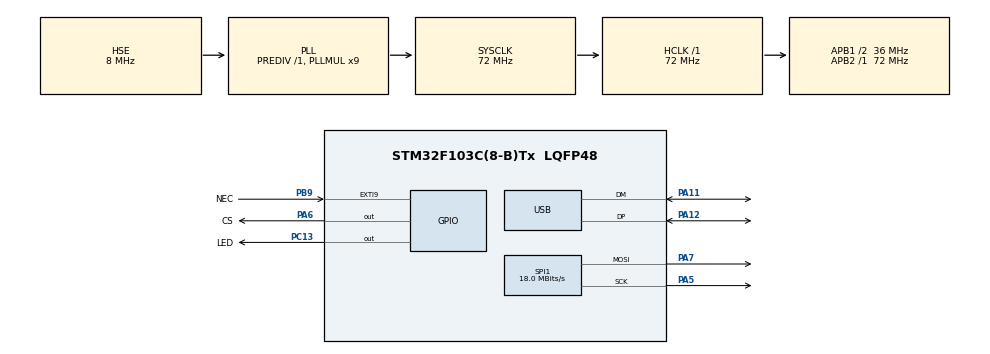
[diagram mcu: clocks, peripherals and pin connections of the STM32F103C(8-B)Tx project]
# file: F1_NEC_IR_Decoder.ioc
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Mcu.Family=STM32F1
Mcu.Name=STM32F103C(8-B)Tx
Mcu.Package=LQFP48
NVIC.EXTI9_5_IRQn=true\:0\:0\:false\:false\:true\:true\:true
NVIC.PriorityGroup=NVIC_PRIORITYGROUP_4
NVIC.TIM1_BRK_IRQn=true\:0\:0\:false\:false\:true\:true\:true
NVIC.TIM1_CC_IRQn=true\:0\:0\:false\:false\:true\:true\:true
NVIC.TIM1_TRG_COM_IRQn=true\:0\:0\:false\:false\:true\:true\:true
NVIC.TIM1_UP_IRQn=true\:0\:0\:false\:false\:true\:true\:true
NVIC.USB_LP_CAN1_RX0_IRQn=true\:0\:0\:false\:false\:true\:false\:true
PA11.Mode=Device
PA11.Signal=USB_DM
PA12.Mode=Device
PA12.Signal=USB_DP
PA13.Mode=Serial_Wire
PA13.Signal=SYS_JTMS-SWDIO
PA14.Mode=Serial_Wire
PA14.Signal=SYS_JTCK-SWCLK
PA5.Mode=TX_Only_Simplex_Unidirect_Master
PA5.Signal=SPI1_SCK
PA6.GPIO_Label=CS
PA6.GPIO_Speed=GPIO_SPEED_FREQ_HIGH
PA6.Signal=GPIO_Output
PA7.Mode=TX_Only_Simplex_Unidirect_Master
PA7.Signal=SPI1_MOSI
PB9.GPIO_Label=NEC
PB9.GPIO_ModeDefaultEXTI=GPIO_MODE_IT_RISING_FALLING
PB9.GPIO_PuPd=GPIO_NOPULL
PB9.Signal=GPXTI9
PC13-TAMPER-RTC.GPIO_Label=LED
PC13-TAMPER-RTC.GPIO_Speed=GPIO_SPEED_FREQ_HIGH
PC13-TAMPER-RTC.Signal=GPIO_Output
PC14-OSC32_IN.Mode=LSE-External-Oscillator
PC14-OSC32_IN.Signal=RCC_OSC32_IN
PC15-OSC32_OUT.Mode=LSE-External-Oscillator
PC15-OSC32_OUT.Signal=RCC_OSC32_OUT
PD0-OSC_IN.Mode=HSE-External-Oscillator
PD0-OSC_IN.Signal=RCC_OSC_IN
PD1-OSC_OUT.Mode=HSE-External-Oscillator
PD1-OSC_OUT.Signal=RCC_OSC_OUT
ProjectManager.HeapSize=0x200
ProjectManager.StackSize=0x400
ProjectManager.TargetToolchain=SW4STM32
RCC.AHBFreq_Value=72000000
RCC.APB1CLKDivider=RCC_HCLK_DIV2
RCC.APB1Freq_Value=36000000
RCC.APB1TimFreq_Value=72000000
RCC.APB2Freq_Value=72000000
RCC.APB2TimFreq_Value=72000000
RCC.HCLKFreq_Value=72000000
RCC.PLLMUL=RCC_PLL_MUL9
RCC.SYSCLKFreq_VALUE=72000000
RCC.SYSCLKSource=RCC_SYSCLKSOURCE_PLLCLK
RCC.USBFreq_Value=48000000
RCC.USBPrescaler=RCC_USBCLKSOURCE_PLL_DIV1_5
SPI1.BaudRatePrescaler=SPI_BAUDRATEPRESCALER_4
SPI1.CalculateBaudRate=18.0 MBits/s
SPI1.Direction=SPI_DIRECTION_2LINES
SPI1.Mode=SPI_MODE_MASTER
SPI1.VirtualType=VM_MASTER
TIM1.AutoReloadPreload=TIM_AUTORELOAD_PRELOAD_ENABLE
TIM1.Period=65535
TIM1.Prescaler=719
TIM1.TIM_MasterOutputTrigger=TIM_TRGO_RESET
TIM1.TIM_MasterSlaveMode=TIM_MASTERSLAVEMODE_DISABLE
USB_DEVICE.CLASS_NAME_FS=CDC
USB_DEVICE.LANGID_STRING=1036
USB_DEVICE.VirtualMode=Cdc
USB_DEVICE.VirtualModeFS=Cdc_FS
VP_TIM1_VS_ClockSourceINT.Mode=Internal
VP_USB_DEVICE_VS_USB_DEVICE_CDC_FS.Mode=CDC_FS
board=custom

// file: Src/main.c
/* USER CODE BEGIN Header */
/**
 ******************************************************************************
 * @file           : main.c
 * @brief          : Main program body
 ******************************************************************************
 * @attention
 *
 * <h2><center>&copy; Copyright (c) 2019 STMicroelectronics.
 * All rights reserved.</center></h2>
 *
 * This software component is licensed by ST under Ultimate Liberty license
 * SLA0044, the "License"; You may not use this file except in compliance with
 * the License. You may obtain a copy of the License at:
 *                             www.st.com/SLA0044
 *
 ******************************************************************************
 */
/* USER CODE END Header */

#include "main.h"
#include "usb_device.h"

/* USER CODE BEGIN Includes */
#include <stdio.h>
/* USER CODE END Includes */

/* USER CODE BEGIN PD */

#define MAXIMDISP
#define VPCOM
//#define DEBUG

uint8_t len = 0;
uint8_t BUFF[80];

struct NEC NEC1;

/* USER CODE END PD */

/* USER CODE BEGIN PM */

#ifdef MAXIMDISP

void MAXIM(SPI_HandleTypeDef *hspi, uint8_t addr, uint8_t comm) {
	static uint8_t data[2];
	data[0] = addr;
	data[1] = comm;
	HAL_GPIO_WritePin(CS_GPIO_Port, CS_Pin, 0);
	HAL_SPI_Transmit(hspi, &data[0], 2, HAL_MAX_DELAY);
	HAL_GPIO_WritePin(CS_GPIO_Port, CS_Pin, 1);
}

void MAXIM_Init(SPI_HandleTypeDef *hspi) {
	uint8_t i;
	i = 0;
	MAXIM(hspi, 0xA, 0x0); // LED INTENSITY
	while (i < 8) {
		MAXIM(hspi, 0xA, 0x0);
		MAXIM(hspi, i + 1, 0x0);
		i++;
	}
	MAXIM(hspi, 0xC, 0x1);
	MAXIM(hspi, 0xB, 0x7);
	MAXIM(hspi, 0xA, 0x0); // LED INTENSITY
	MAXIM(hspi, 0xF, 0x1);
	MAXIM(hspi, 0xF, 0x0);
	MAXIM(hspi, 0x9, 0x0);
	i = 0;
}

void Maxim_Map(SPI_HandleTypeDef *hspi, uint8_t *map) {
	static uint8_t i;
	i = 0;
	while (i < 8) {
		MAXIM(hspi, i + 1, map[i]);
		i++;
	}
}

#endif

/* USER CODE END PM */

SPI_HandleTypeDef hspi1;

TIM_HandleTypeDef htim1;

void SystemClock_Config(void);
static void MX_GPIO_Init(void);
static void MX_TIM1_Init(void);
static void MX_SPI1_Init(void);

/* USER CODE BEGIN 0 */

void HAL_TIM_PeriodElapsedCallback(TIM_HandleTypeDef *htim) {
	if (htim->Instance == TIM1) {
		HAL_GPIO_WritePin(LED_GPIO_Port, LED_Pin, GPIO_PIN_SET);
		NEC1.addr = 0;
		NEC1.addr_inv = 0;
		NEC1.cmd = 0;
		NEC1.cmd_inv = 0;
		NEC1.complet = 0;
		NEC1.gpio = 0;
		NEC1.i = 0;
		NEC1.init_seq = 0;
		NEC1.repeat = 0;
		NEC1.complet = 0;
		MAXIM(&hspi1, 1, NEC1.addr);
		MAXIM(&hspi1, 2, NEC1.addr_inv);
		MAXIM(&hspi1, 3, NEC1.cmd);
		MAXIM(&hspi1, 4, NEC1.cmd_inv);
		MAXIM(&hspi1, 5, NEC1.repeat);
	}
}

void HAL_GPIO_EXTI_Callback(uint16_t GPIO_Pin) {
	if (GPIO_Pin == NEC_Pin) {
		NEC1.count = __HAL_TIM_GET_COUNTER(&htim1);
		__HAL_TIM_SET_COUNTER(&htim1, 0);
		NEC1.gpio = HAL_GPIO_ReadPin(NEC_GPIO_Port, NEC_Pin);
		HAL_GPIO_TogglePin(LED_GPIO_Port, LED_Pin);
#ifdef DEBUG
		len = sprintf(BUFF, "DEBUG :\t%u\t%u\t%u\n\0", NEC1.i, NEC1.gpio, NEC1.count);
		CDC_Transmit_FS(BUFF, len);
#endif

		if (NEC1.gpio && NEC1.count > 850 && NEC1.count < 1000) {
			NEC1.init_seq = 1;
			NEC1.complet = 0;
		}

		if (!NEC1.gpio && NEC1.count > 420 && NEC1.count < 480
				&& NEC1.init_seq) {
			NEC1.i = -1;
			NEC1.repeat = 0;
			NEC1.init_seq = 0;
		}

		if (!NEC1.gpio && NEC1.count > 200 && NEC1.count < 260
				&& NEC1.init_seq) {
			NEC1.i = -1;
			NEC1.init_seq = 0;
			NEC1.repeat++;
			NEC1.complet = 1;
		}

		if (NEC1.gpio && NEC1.count > 40 && NEC1.count < 70) {
			NEC1.i++;
		}

		if (!NEC1.gpio && NEC1.count > 40 && NEC1.count < 180) {
			switch (NEC1.i / 8) {
			case 0:
				if (NEC1.count > 100) {
					NEC1.addr |= (1 << (NEC1.i % 8));
				} else {
					NEC1.addr &= ~(1 << (NEC1.i % 8));
				}
				break;
			case 1:
				if (NEC1.count > 100) {
					NEC1.addr_inv |= (1 << (NEC1.i % 8));
				} else {
					NEC1.addr_inv &= ~(1 << (NEC1.i % 8));
				}
				break;
			case 2:
				if (NEC1.count > 100) {
					NEC1.cmd |= (1 << (NEC1.i % 8));
				} else {
					NEC1.cmd &= ~(1 << (NEC1.i % 8));
				}
				break;
			case 3:
				if (NEC1.count > 100) {
					NEC1.cmd_inv |= (1 << (NEC1.i % 8));
				} else {
					NEC1.cmd_inv &= ~(1 << (NEC1.i % 8));
				}
				break;
			default:
				break;
			}
		}

		if (NEC1.i == 32) {
			NEC1.complet = 1;
		}
	}
}

/* USER CODE END 0 */

int main(void)
{

  /* MCU Configuration--------------------------------------------------------*/

  /* Reset of all peripherals, Initializes the Flash interface and the Systick. */
  HAL_Init();

  /* Configure the system clock */
  SystemClock_Config();

  /* Initialize all configured peripherals */
  MX_GPIO_Init();
  MX_USB_DEVICE_Init();
  MX_TIM1_Init();
  MX_SPI1_Init();
  /* USER CODE BEGIN 2 */
	MAXIM_Init(&hspi1);
	HAL_GPIO_TogglePin(LED_GPIO_Port, LED_Pin);
	HAL_TIM_Base_Start_IT(&htim1);

  /* USER CODE END 2 */

  /* Infinite loop */
  /* USER CODE BEGIN WHILE */

	while (1) {

		if (NEC1.complet) {
#ifdef MAXIMDISP
			NEC1.complet = 0;
			MAXIM(&hspi1, 1, NEC1.addr);
			MAXIM(&hspi1, 2, NEC1.addr_inv);
			MAXIM(&hspi1, 3, NEC1.cmd);
			MAXIM(&hspi1, 4, NEC1.cmd_inv);
			MAXIM(&hspi1, 5, NEC1.repeat);
#endif

#ifdef VPCOM
			if (!NEC1.repeat) {
				len =
						sprintf(BUFF,
								"Received :\n\
ADDR:\t%x\n\
!ADDR:\t%x\n\
CMD:\t%x\n\
!CMD:\t%x\n",
								NEC1.addr, NEC1.addr_inv, NEC1.cmd,
								NEC1.cmd_inv);
			} else {
				len = sprintf(BUFF, "Repeat : %d\n", NEC1.repeat);
			}
			CDC_Transmit_FS(BUFF, len);
#endif
		}

    /* USER CODE END WHILE */

	}
}

void SystemClock_Config(void)
{
  RCC_OscInitTypeDef RCC_OscInitStruct = {0};
  RCC_ClkInitTypeDef RCC_ClkInitStruct = {0};
  RCC_PeriphCLKInitTypeDef PeriphClkInit = {0};

  /** Initializes the CPU, AHB and APB busses clocks
  */
  RCC_OscInitStruct.OscillatorType = RCC_OSCILLATORTYPE_HSE;
  RCC_OscInitStruct.HSEState = RCC_HSE_ON;
  RCC_OscInitStruct.HSEPredivValue = RCC_HSE_PREDIV_DIV1;
  RCC_OscInitStruct.HSIState = RCC_HSI_ON;
  RCC_OscInitStruct.PLL.PLLState = RCC_PLL_ON;
  RCC_OscInitStruct.PLL.PLLSource = RCC_PLLSOURCE_HSE;
  RCC_OscInitStruct.PLL.PLLMUL = RCC_PLL_MUL9;
  if (HAL_RCC_OscConfig(&RCC_OscInitStruct) != HAL_OK)
  {
    Error_Handler();
  }
  /** Initializes the CPU, AHB and APB busses clocks
  */
  RCC_ClkInitStruct.ClockType = RCC_CLOCKTYPE_HCLK|RCC_CLOCKTYPE_SYSCLK
                              |RCC_CLOCKTYPE_PCLK1|RCC_CLOCKTYPE_PCLK2;
  RCC_ClkInitStruct.SYSCLKSource = RCC_SYSCLKSOURCE_PLLCLK;
  RCC_ClkInitStruct.AHBCLKDivider = RCC_SYSCLK_DIV1;
  RCC_ClkInitStruct.APB1CLKDivider = RCC_HCLK_DIV2;
  RCC_ClkInitStruct.APB2CLKDivider = RCC_HCLK_DIV1;

  if (HAL_RCC_ClockConfig(&RCC_ClkInitStruct, FLASH_LATENCY_2) != HAL_OK)
  {
    Error_Handler();
  }
  PeriphClkInit.PeriphClockSelection = RCC_PERIPHCLK_USB;
  PeriphClkInit.UsbClockSelection = RCC_USBCLKSOURCE_PLL_DIV1_5;
  if (HAL_RCCEx_PeriphCLKConfig(&PeriphClkInit) != HAL_OK)
  {
    Error_Handler();
  }
}

static void MX_SPI1_Init(void)
{

  /* SPI1 parameter configuration*/
  hspi1.Instance = SPI1;
  hspi1.Init.Mode = SPI_MODE_MASTER;
  hspi1.Init.Direction = SPI_DIRECTION_2LINES;
  hspi1.Init.DataSize = SPI_DATASIZE_8BIT;
  hspi1.Init.CLKPolarity = SPI_POLARITY_LOW;
  hspi1.Init.CLKPhase = SPI_PHASE_1EDGE;
  hspi1.Init.NSS = SPI_NSS_SOFT;
  hspi1.Init.BaudRatePrescaler = SPI_BAUDRATEPRESCALER_4;
  hspi1.Init.FirstBit = SPI_FIRSTBIT_MSB;
  hspi1.Init.TIMode = SPI_TIMODE_DISABLE;
  hspi1.Init.CRCCalculation = SPI_CRCCALCULATION_DISABLE;
  hspi1.Init.CRCPolynomial = 10;
  if (HAL_SPI_Init(&hspi1) != HAL_OK)
  {
    Error_Handler();
  }

}

static void MX_TIM1_Init(void)
{

  TIM_ClockConfigTypeDef sClockSourceConfig = {0};
  TIM_MasterConfigTypeDef sMasterConfig = {0};

  htim1.Instance = TIM1;
  htim1.Init.Prescaler = 719;
  htim1.Init.CounterMode = TIM_COUNTERMODE_UP;
  htim1.Init.Period = 65535;
  htim1.Init.ClockDivision = TIM_CLOCKDIVISION_DIV1;
  htim1.Init.RepetitionCounter = 0;
  htim1.Init.AutoReloadPreload = TIM_AUTORELOAD_PRELOAD_ENABLE;
  if (HAL_TIM_Base_Init(&htim1) != HAL_OK)
  {
    Error_Handler();
  }
  sClockSourceConfig.ClockSource = TIM_CLOCKSOURCE_INTERNAL;
  if (HAL_TIM_ConfigClockSource(&htim1, &sClockSourceConfig) != HAL_OK)
  {
    Error_Handler();
  }
  sMasterConfig.MasterOutputTrigger = TIM_TRGO_RESET;
  sMasterConfig.MasterSlaveMode = TIM_MASTERSLAVEMODE_DISABLE;
  if (HAL_TIMEx_MasterConfigSynchronization(&htim1, &sMasterConfig) != HAL_OK)
  {
    Error_Handler();
  }

}

static void MX_GPIO_Init(void)
{
  GPIO_InitTypeDef GPIO_InitStruct = {0};

  /* GPIO Ports Clock Enable */
  __HAL_RCC_GPIOC_CLK_ENABLE();
  __HAL_RCC_GPIOD_CLK_ENABLE();
  __HAL_RCC_GPIOA_CLK_ENABLE();
  __HAL_RCC_GPIOB_CLK_ENABLE();

  /*Configure GPIO pin Output Level */
  HAL_GPIO_WritePin(LED_GPIO_Port, LED_Pin, GPIO_PIN_RESET);

  /*Configure GPIO pin Output Level */
  HAL_GPIO_WritePin(CS_GPIO_Port, CS_Pin, GPIO_PIN_RESET);

  /*Configure GPIO pin : LED_Pin */
  GPIO_InitStruct.Pin = LED_Pin;
  GPIO_InitStruct.Mode = GPIO_MODE_OUTPUT_PP;
  GPIO_InitStruct.Pull = GPIO_NOPULL;
  GPIO_InitStruct.Speed = GPIO_SPEED_FREQ_HIGH;
  HAL_GPIO_Init(LED_GPIO_Port, &GPIO_InitStruct);

  /*Configure GPIO pin : CS_Pin */
  GPIO_InitStruct.Pin = CS_Pin;
  GPIO_InitStruct.Mode = GPIO_MODE_OUTPUT_PP;
  GPIO_InitStruct.Pull = GPIO_NOPULL;
  GPIO_InitStruct.Speed = GPIO_SPEED_FREQ_HIGH;
  HAL_GPIO_Init(CS_GPIO_Port, &GPIO_InitStruct);

  /*Configure GPIO pin : NEC_Pin */
  GPIO_InitStruct.Pin = NEC_Pin;
  GPIO_InitStruct.Mode = GPIO_MODE_IT_RISING_FALLING;
  GPIO_InitStruct.Pull = GPIO_NOPULL;
  HAL_GPIO_Init(NEC_GPIO_Port, &GPIO_InitStruct);

  /* EXTI interrupt init*/
  HAL_NVIC_SetPriority(EXTI9_5_IRQn, 0, 0);
  HAL_NVIC_EnableIRQ(EXTI9_5_IRQn);

}

void Error_Handler(void)
{
}

/************************ (C) COPYRIGHT STMicroelectronics *****END OF FILE****/
